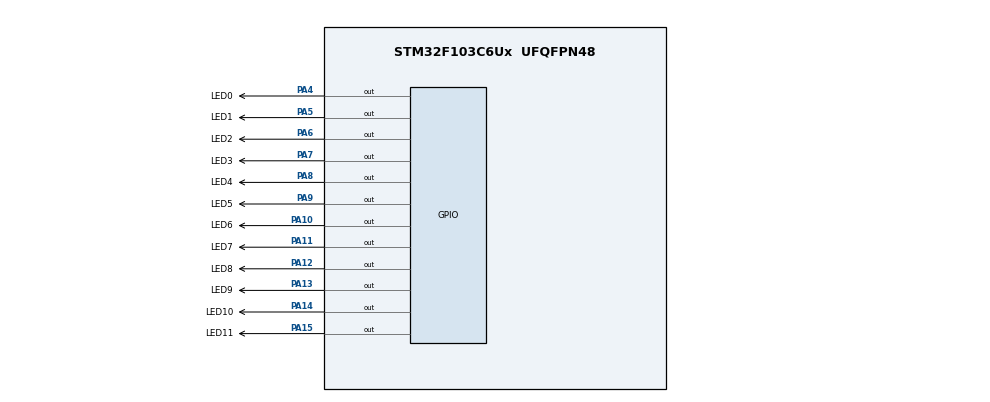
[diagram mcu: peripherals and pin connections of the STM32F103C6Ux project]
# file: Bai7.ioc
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Mcu.Family=STM32F1
Mcu.Name=STM32F103C6Ux
Mcu.Package=UFQFPN48
NVIC.PriorityGroup=NVIC_PRIORITYGROUP_4
PA10.GPIO_Label=LED6
PA10.Signal=GPIO_Output
PA11.GPIO_Label=LED7
PA11.Signal=GPIO_Output
PA12.GPIO_Label=LED8
PA12.Signal=GPIO_Output
PA13.GPIO_Label=LED9
PA13.Signal=GPIO_Output
PA14.GPIO_Label=LED10
PA14.Signal=GPIO_Output
PA15.GPIO_Label=LED11
PA15.Signal=GPIO_Output
PA4.GPIO_Label=LED0
PA4.Signal=GPIO_Output
PA5.GPIO_Label=LED1
PA5.Signal=GPIO_Output
PA6.GPIO_Label=LED2
PA6.Signal=GPIO_Output
PA7.GPIO_Label=LED3
PA7.Signal=GPIO_Output
PA8.GPIO_Label=LED4
PA8.Signal=GPIO_Output
PA9.GPIO_Label=LED5
PA9.Signal=GPIO_Output
ProjectManager.HeapSize=0x200
ProjectManager.StackSize=0x400
ProjectManager.TargetToolchain=STM32CubeIDE
RCC.APB1Freq_Value=8000000
RCC.APB2Freq_Value=8000000
VP_SYS_VS_ND.Mode=No_Debug
board=custom

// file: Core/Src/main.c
/* USER CODE BEGIN Header */
/**
 ******************************************************************************
 * @file           : main.c
 * @brief          : Main program body
 ******************************************************************************
 * @attention
 *
 * <h2><center>&copy; Copyright (c) 2022 STMicroelectronics.
 * All rights reserved.</center></h2>
 *
 * This software component is licensed by ST under BSD 3-Clause license,
 * the "License"; You may not use this file except in compliance with the
 * License. You may obtain a copy of the License at:
 *                        opensource.org/licenses/BSD-3-Clause
 *
 ******************************************************************************
 */
/* USER CODE END Header */
#include "main.h"

void SystemClock_Config(void);
static void MX_GPIO_Init(void);

/* USER CODE BEGIN 0 */
int count = 0;
void clearAllClock() {
	HAL_GPIO_WritePin(LED0_GPIO_Port, LED0_Pin, RESET);
	HAL_GPIO_WritePin(LED1_GPIO_Port, LED1_Pin, RESET);
	HAL_GPIO_WritePin(LED2_GPIO_Port, LED2_Pin, RESET);
	HAL_GPIO_WritePin(LED3_GPIO_Port, LED3_Pin, RESET);
	HAL_GPIO_WritePin(LED4_GPIO_Port, LED4_Pin, RESET);
	HAL_GPIO_WritePin(LED5_GPIO_Port, LED5_Pin, RESET);
	HAL_GPIO_WritePin(LED6_GPIO_Port, LED6_Pin, RESET);
	HAL_GPIO_WritePin(LED7_GPIO_Port, LED7_Pin, RESET);
	HAL_GPIO_WritePin(LED8_GPIO_Port, LED8_Pin, RESET);
	HAL_GPIO_WritePin(LED9_GPIO_Port, LED9_Pin, RESET);
	HAL_GPIO_WritePin(LED10_GPIO_Port, LED10_Pin, RESET);
	HAL_GPIO_WritePin(LED11_GPIO_Port, LED11_Pin, RESET);
}
/* USER CODE END 0 */

int main(void) {

	/* MCU Configuration--------------------------------------------------------*/

	/* Reset of all peripherals, Initializes the Flash interface and the Systick. */
	HAL_Init();

	/* Configure the system clock */
	SystemClock_Config();

	/* Initialize all configured peripherals */
	MX_GPIO_Init();

	/* Infinite loop */
	/* USER CODE BEGIN WHILE */
	int count = 1;	//led on
	while (1) {
		if (count == 0)	//clear all clock
				{
			clearAllClock();
			count = -1;
		}
		if (count == 1) {
			HAL_GPIO_WritePin(LED0_GPIO_Port, LED0_Pin, SET);
			HAL_GPIO_WritePin(LED1_GPIO_Port, LED1_Pin, SET);
			HAL_GPIO_WritePin(LED2_GPIO_Port, LED2_Pin, SET);
			HAL_GPIO_WritePin(LED3_GPIO_Port, LED3_Pin, SET);
			HAL_GPIO_WritePin(LED4_GPIO_Port, LED4_Pin, SET);
			HAL_GPIO_WritePin(LED5_GPIO_Port, LED5_Pin, SET);
			HAL_GPIO_WritePin(LED6_GPIO_Port, LED6_Pin, SET);
			HAL_GPIO_WritePin(LED7_GPIO_Port, LED7_Pin, SET);
			HAL_GPIO_WritePin(LED8_GPIO_Port, LED8_Pin, SET);
			HAL_GPIO_WritePin(LED9_GPIO_Port, LED9_Pin, SET);
			HAL_GPIO_WritePin(LED10_GPIO_Port, LED10_Pin, SET);
			HAL_GPIO_WritePin(LED11_GPIO_Port, LED11_Pin, SET);
			count = 0;
		}
		if (count == -1) {
			count = 1;
		}

		HAL_Delay(1000);

		/* USER CODE END WHILE */

	}
}

void SystemClock_Config(void) {
	RCC_OscInitTypeDef RCC_OscInitStruct = { 0 };
	RCC_ClkInitTypeDef RCC_ClkInitStruct = { 0 };

	/** Initializes the RCC Oscillators according to the specified parameters
	 * in the RCC_OscInitTypeDef structure.
	 */
	RCC_OscInitStruct.OscillatorType = RCC_OSCILLATORTYPE_HSI;
	RCC_OscInitStruct.HSIState = RCC_HSI_ON;
	RCC_OscInitStruct.HSICalibrationValue = RCC_HSICALIBRATION_DEFAULT;
	RCC_OscInitStruct.PLL.PLLState = RCC_PLL_NONE;
	if (HAL_RCC_OscConfig(&RCC_OscInitStruct) != HAL_OK) {
		Error_Handler();
	}
	/** Initializes the CPU, AHB and APB buses clocks
	 */
	RCC_ClkInitStruct.ClockType = RCC_CLOCKTYPE_HCLK | RCC_CLOCKTYPE_SYSCLK
			| RCC_CLOCKTYPE_PCLK1 | RCC_CLOCKTYPE_PCLK2;
	RCC_ClkInitStruct.SYSCLKSource = RCC_SYSCLKSOURCE_HSI;
	RCC_ClkInitStruct.AHBCLKDivider = RCC_SYSCLK_DIV1;
	RCC_ClkInitStruct.APB1CLKDivider = RCC_HCLK_DIV1;
	RCC_ClkInitStruct.APB2CLKDivider = RCC_HCLK_DIV1;

	if (HAL_RCC_ClockConfig(&RCC_ClkInitStruct, FLASH_LATENCY_0) != HAL_OK) {
		Error_Handler();
	}
}

static void MX_GPIO_Init(void) {
	GPIO_InitTypeDef GPIO_InitStruct = { 0 };

	/* GPIO Ports Clock Enable */
	__HAL_RCC_GPIOA_CLK_ENABLE();

	/*Configure GPIO pin Output Level */
	HAL_GPIO_WritePin(GPIOA,
			LED0_Pin | LED1_Pin | LED2_Pin | LED3_Pin | LED4_Pin | LED5_Pin
					| LED6_Pin | LED7_Pin | LED8_Pin | LED9_Pin | LED10_Pin
					| LED11_Pin, GPIO_PIN_RESET);

	/*Configure GPIO pins : LED0_Pin LED1_Pin LED2_Pin LED3_Pin
	 LED4_Pin LED5_Pin LED6_Pin LED7_Pin
	 LED8_Pin LED9_Pin LED10_Pin LED11_Pin */
	GPIO_InitStruct.Pin = LED0_Pin | LED1_Pin | LED2_Pin | LED3_Pin | LED4_Pin
			| LED5_Pin | LED6_Pin | LED7_Pin | LED8_Pin | LED9_Pin | LED10_Pin
			| LED11_Pin;
	GPIO_InitStruct.Mode = GPIO_MODE_OUTPUT_PP;
	GPIO_InitStruct.Pull = GPIO_NOPULL;
	GPIO_InitStruct.Speed = GPIO_SPEED_FREQ_LOW;
	HAL_GPIO_Init(GPIOA, &GPIO_InitStruct);

}

void Error_Handler(void) {
	__disable_irq();
	while (1) {
	}
}

/************************ (C) COPYRIGHT STMicroelectronics *****END OF FILE****/
